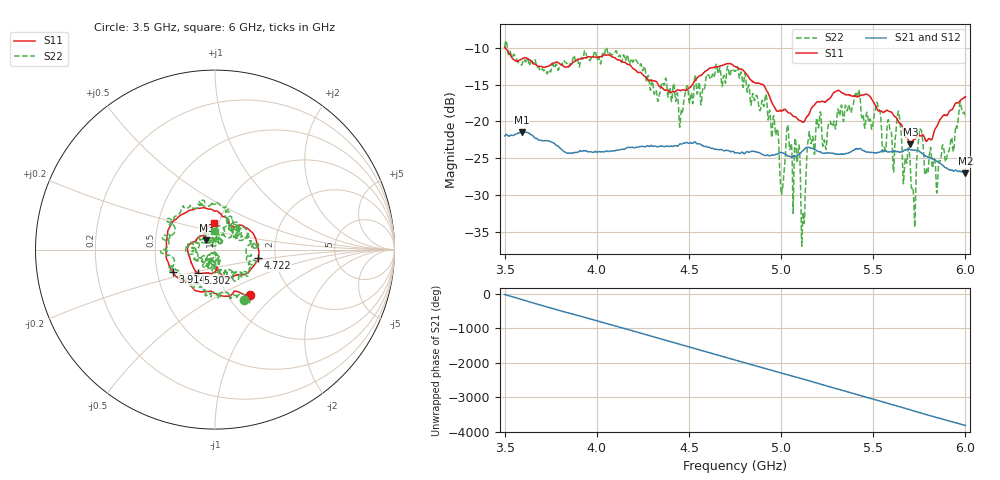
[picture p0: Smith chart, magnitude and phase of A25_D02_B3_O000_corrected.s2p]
! Created with skrf 1.9.0 (http://scikit-rf.org).
# Hz S RI R 50.0
!freq ReS11 ImS11 ReS21 ImS21 ReS12 ImS12 ReS22 ImS22
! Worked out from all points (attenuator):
!   1601 points, 3.5 GHz to 6 GHz, reference 50 ohm
!   highest |S21| = -21.44 dB at 3.592 GHz (marker M1); lowest = -27.0 dB at 6 GHz (marker M2)
!   lowest |S11| = -23.1 dB at 5.702 GHz (marker M3), VSWR 1.15, Z = 45.2 + j4.7 ohm
!   |S11| at or under -10 dB: 3.503 GHz to end of sweep
!   |S22| runs from -36.9 to -9.0 dB; largest |S21 - S12| = 0.00098
!   S11 on the Smith chart (normalised r, x): 3.5 GHz: 1.26, -0.71; 3.914 GHz: 0.60, -0.16; 4.722 GHz: 1.63, -0.17; 5.302 GHz: 0.80, -0.21; 6 GHz: 0.94, +0.28
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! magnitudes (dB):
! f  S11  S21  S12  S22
! 3.5 GHz  -9.9  -22.0  -22.0  -9.8
! 3.592 GHz  -11.5  -21.4  -21.4  -12.3
! 3.914 GHz  -11.5  -24.0  -24.0  -11.4
! 3.917 GHz  -11.5  -24.0  -24.0  -11.3
! 4.334 GHz  -15.1  -23.4  -23.4  -17.1
! 4.456 GHz  -15.8  -23.1  -23.0  -18.9
! 4.722 GHz  -12.1  -24.1  -24.0  -13.8
! 4.75 GHz  -12.5  -24.3  -24.2  -13.2
! 4.927 GHz  -16.0  -24.5  -24.5  -18.8
! 5.005 GHz  -18.5  -24.2  -24.2  -29.4
! 5.034 GHz  -18.7  -24.7  -24.6  -20.5
! 5.088 GHz  -19.6  -24.6  -24.6  -25.6
! 5.119 GHz  -20.1  -24.0  -23.9  -32.3
! 5.167 GHz  -18.1  -23.6  -23.6  -22.5
! 5.302 GHz  -15.9  -24.4  -24.4  -19.8
! 5.414 GHz  -16.7  -23.7  -23.7  -16.4
! 5.584 GHz  -18.6  -24.1  -24.1  -19.9
! 5.702 GHz  -23.1  -23.9  -23.9  -26.3
! 5.719 GHz  -22.5  -23.9  -23.8  -30.1
! 5.755 GHz  -22.0  -24.2  -24.1  -21.0
! 5.85 GHz  -20.4  -25.5  -25.4  -27.6
! 6 GHz  -16.6  -27.0  -27.0  -19.5
